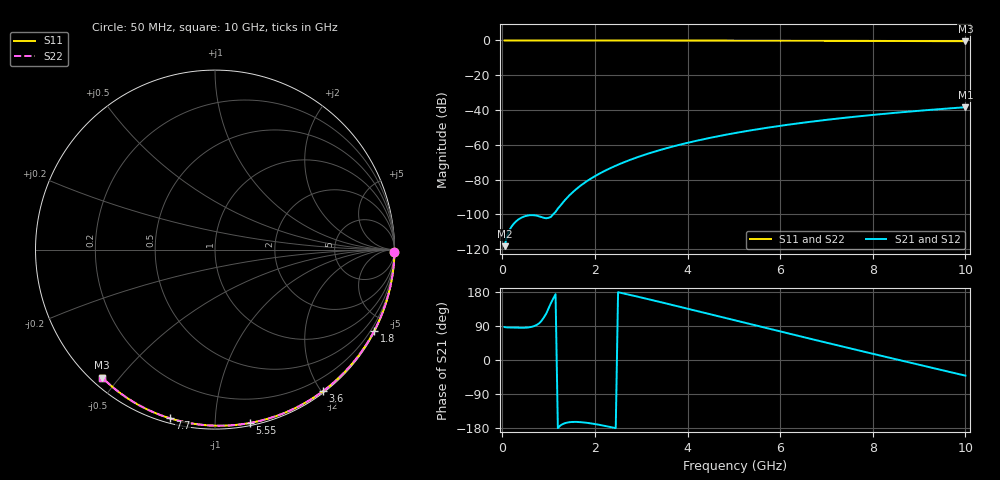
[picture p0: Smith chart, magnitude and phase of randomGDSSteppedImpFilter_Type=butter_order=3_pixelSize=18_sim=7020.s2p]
! freq	dB(S11)	phase(S11)	dB(S12)	phase(S12)
!  dB(S21)	phase(S21)	dB(S22)	phase(S22)
!S-par simulation data
#  GHz  S  DB  R 50
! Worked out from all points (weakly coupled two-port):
!   200 points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, 50 MHz to 10 GHz, reference 50 ohm
!   highest |S21| = -38.40 dB at 10 GHz (marker M1); lowest = -118.3 dB at 50 MHz (marker M2)
!   lowest |S11| = -0.4 dB at 10 GHz (marker M3), VSWR 39.07, Z = 1.54 - j22.6 ohm
!   |S11| at or under -10 dB: nowhere
!   |S22| runs from -0.4 to 0.0 dB; largest |S21 - S12| = 0
!   S11 on the Smith chart (normalised r, x): 50 MHz: open; 1.8 GHz: 0.04, -4.18; 3.6 GHz: 0.02, -2.02; 5.55 GHz: 0.02, -1.22; 7.7 GHz: 0.02, -0.77; 10 GHz: 0.03, -0.45
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0.05  -0.00 -0.8  -118.29 86.7  -118.29 86.7  -0.00 -0.8
0.9  -0.02 -13.6  -102.00 112.7  -102.00 112.7  -0.02 -13.6
1.75  -0.03 -26.2  -82.33 -164.6  -82.33 -164.6  -0.03 -26.2
1.8  -0.03 -26.9  -81.40 -165.3  -81.40 -165.3  -0.03 -26.9
1.85  -0.04 -27.7  -80.51 -166.1  -80.51 -166.1  -0.04 -27.7
1.9  -0.04 -28.4  -79.66 -167.0  -79.66 -167.0  -0.04 -28.4
2.05  -0.04 -30.6  -77.28 -170.0  -77.28 -170.0  -0.04 -30.6
2.25  -0.04 -33.5  -74.49 -174.7  -74.49 -174.7  -0.04 -33.5
2.45  -0.05 -36.4  -72.01 -179.8  -72.01 -179.8  -0.05 -36.4
2.65  -0.05 -39.3  -69.80 174.8  -69.80 174.8  -0.05 -39.3
3  -0.06 -44.2  -66.39 164.9  -66.39 164.9  -0.06 -44.2
3.4  -0.07 -49.9  -63.06 153.3  -63.06 153.3  -0.07 -49.9
3.6  -0.07 -52.7  -61.57 147.4  -61.57 147.4  -0.07 -52.7
4.3  -0.09 -62.2  -57.06 126.4  -57.06 126.4  -0.09 -62.2
5.05  -0.11 -72.2  -53.13 103.9  -53.13 103.9  -0.11 -72.2
5.55  -0.13 -78.7  -50.89 88.9  -50.89 88.9  -0.13 -78.7
6.1  -0.15 -85.6  -48.71 72.4  -48.71 72.4  -0.15 -85.6
6.7  -0.18 -93.0  -46.61 54.6  -46.61 54.6  -0.18 -93.0
7.7  -0.24 -105.0  -43.61 25.2  -43.61 25.2  -0.24 -105.0
8.35  -0.29 -112.6  -41.93 6.2  -41.93 6.2  -0.29 -112.6
9.15  -0.36 -121.8  -40.10 -16.8  -40.10 -16.8  -0.36 -121.8
10  -0.44 -131.4  -38.40 -41.3  -38.40 -41.3  -0.44 -131.4
